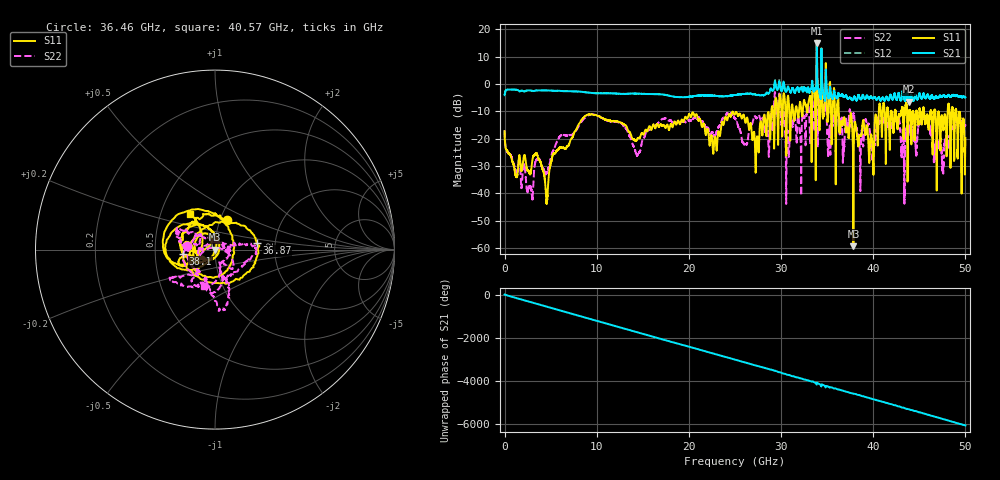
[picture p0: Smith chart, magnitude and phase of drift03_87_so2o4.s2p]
!Created with skrf (http://scikit-rf.org).
# Hz S RI R 50.0
!freq ReS11 ImS11 ReS21 ImS21 ReS12 ImS12 ReS22 ImS22
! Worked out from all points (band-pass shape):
!   10001 points, 300 kHz to 50 GHz, reference 50 ohm
!   highest |S21| = 14.90 dB at 33.88 GHz (marker M1); lowest = -6.4 dB at 43.92 GHz (marker M2)
!   |S21| within 3 dB of the highest: 33.86948 GHz to 33.88735 GHz (17.87 MHz wide, 0.0527 % of centre); 34.37775 GHz to 34.38748 GHz (9.732 MHz wide, 0.0283 % of centre)
!   lowest |S11| = -59.3 dB at 37.85 GHz (marker M3), VSWR 1.00, Z = 50.1 - j0.0814 ohm
!   |S11| at or under -10 dB: start of sweep to 28.94 GHz; 36.26 GHz to 40.6 GHz (4.333 GHz wide, 11.3 % of centre); 46.74 GHz to 48.08 GHz (1.337 GHz wide, 2.82 % of centre) (the widest 3 of 62)
!   |S22| runs from -43.8 to 11.4 dB; largest |S21 - S12| = 0.83
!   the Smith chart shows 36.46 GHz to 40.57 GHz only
!   S11 on the Smith chart (normalised r, x): 36.46 GHz: 1.08, +0.37; 36.87 GHz: 1.60, +0.13; 38.1 GHz: 0.70, -0.03; 40.57 GHz: 0.71, +0.30
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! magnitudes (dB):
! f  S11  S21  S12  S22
! 300 kHz  -17.2  -4.0  -4.0  -16.9
! 2.82 GHz  -32.6  -2.4  -2.4  -37.8
! 4.555 GHz  -43.7  -2.3  -2.3  -32.4
! 8.335 GHz  -13.1  -2.8  -2.8  -13.9
! 14.45 GHz  -19.9  -3.5  -3.5  -25.6
! 16.67 GHz  -15.4  -3.7  -3.7  -14.3
! 22.82 GHz  -19.2  -4.3  -4.2  -19.2
! 25 GHz  -11.0  -4.0  -4.0  -12.5
! 27.39 GHz  -19.4  -4.1  -4.1  -12.3
! 29.6 GHz  -10.4  -2.0  -2.1  -11.6
! 30.7 GHz  -5.5  -1.3  -1.4  -17.0
! 33.34 GHz  -13.8  -0.4  -0.4  -6.9
! 33.88 GHz  15.9  14.9  14.6  11.4
! 36.46 GHz  -15.0  -4.4  -4.4  -16.2
! 36.87 GHz  -12.5  -4.7  -4.6  -21.5
! 37.85 GHz  -59.3  -5.4  -5.4  -11.0
! 38.1 GHz  -15.0  -5.7  -5.7  -16.6
! 40.57 GHz  -12.3  -4.8  -4.9  -13.5
! 41.67 GHz  -12.0  -6.0  -5.9  -15.4
! 43.92 GHz  -9.7  -6.4  -6.2  -16.8
! 47.57 GHz  -14.9  -4.3  -4.3  -31.0
! 50 GHz  -19.7  -4.9  -4.9  -15.0
